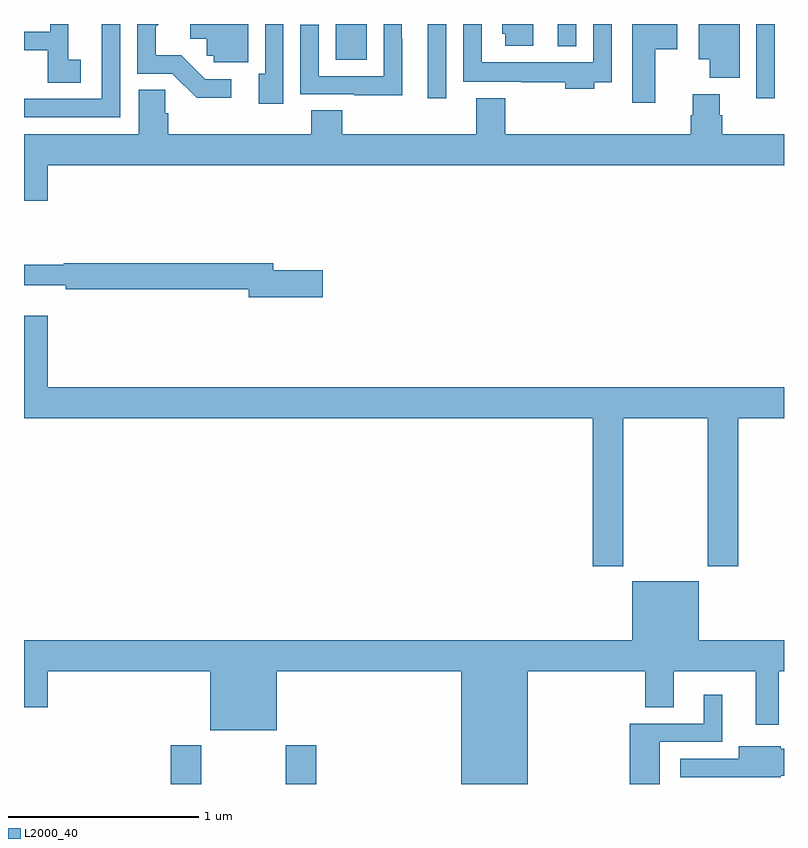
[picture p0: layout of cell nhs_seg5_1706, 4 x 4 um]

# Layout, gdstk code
import gdstk
lib = gdstk.Library(unit=1e-6, precision=1e-09)
def R(c, l, rs):  # rectangles x0, y0, x1, y1
    for r in rs: c.add(gdstk.rectangle(r[:2], r[2:], *l))
def P(c, l, *ps):  # polygons
    for p in ps: c.add(gdstk.Polygon(p, *l))
L2000_40 = (2000, 40)

nhs_seg5_1706 = lib.new_cell('nhs_seg5_1706')
R(nhs_seg5_1706, L2000_40, [(213.773,890.799,213.933,891.004), (214.378,890.799,214.538,891.004), (215.126,894.408,215.223,894.799), (216.855,894.408,216.952,894.799), (214.64,894.61,214.804,894.799), (215.81,894.683,215.907,894.799)])
P(nhs_seg5_1706, L2000_40, [(213.507,894.799),(213.41,894.799),(213.41,894.405),(213,894.405),(213,894.309),(213.507,894.309)],
  [(216.001,894.492),(216.093,894.492),(216.093,894.799),(215.997,894.799),(215.997,894.598),(215.409,894.598),(215.409,894.799),(215.313,894.799),(215.313,894.494),(215.617,894.494),(215.617,894.492),(215.849,894.492),(215.849,894.458),(216.001,894.458)],
  [(214.18,894.799),(213.876,894.799),(213.876,894.722),(213.963,894.722),(213.963,894.633),(213.999,894.633),(213.999,894.597),(214.18,894.597)],
  [(214.99,894.722),(214.989,894.722),(214.989,894.799),(214.893,894.799),(214.893,894.525),(214.551,894.525),(214.551,894.796),(214.455,894.796),(214.455,894.429),(214.739,894.429),(214.739,894.425),(214.99,894.425)],
  [(213.298,894.612),(213.234,894.612),(213.234,894.799),(213.138,894.799),(213.138,894.759),(213,894.759),(213,894.661),(213.126,894.661),(213.126,894.49),(213.298,894.49)],
  [(214.365,894.799),(214.269,894.799),(214.269,894.538),(214.235,894.538),(214.235,894.378),(214.365,894.378)],
  [(216.322,894.667),(216.439,894.667),(216.439,894.799),(216.2,894.799),(216.2,894.384),(216.322,894.384)],
  [(216.766,894.799),(216.551,894.799),(216.551,894.614),(216.608,894.614),(216.608,894.515),(216.766,894.515)],
  [(215.68,894.799),(215.516,894.799),(215.516,894.747),(215.534,894.747),(215.534,894.684),(215.68,894.684)],
  [(214.09,894.507),(213.954,894.507),(213.827,894.634),(213.694,894.634),(213.694,894.784),(213.709,894.799),(213.597,894.799),(213.597,894.537),(213.78,894.537),(213.908,894.41),(214.09,894.41)],
  [(213.124,894.056),(217,894.056),(217,894.22),(216.674,894.22),(216.674,894.318),(216.661,894.318),(216.661,894.43),(216.521,894.43),(216.521,894.318),(216.509,894.318),(216.509,894.22),(215.534,894.22),(215.534,894.409),(215.381,894.409),(215.381,894.22),(214.676,894.22),(214.676,894.344),(214.511,894.344),(214.511,894.22),(213.758,894.22),(213.758,894.33),(213.743,894.33),(213.743,894.452),(213.605,894.452),(213.605,894.22),(213,894.22),(213,893.868),(213.124,893.868)],
  [(214.573,893.504),(214.312,893.504),(214.312,893.54),(213.208,893.54),(213.208,893.533),(213,893.533),(213,893.423),(213.22,893.423),(213.22,893.404),(214.184,893.404),(214.184,893.362),(214.573,893.362)],
  [(216.153,892.724),(216.598,892.724),(216.598,891.945),(216.758,891.945),(216.758,892.724),(217,892.724),(217,892.888),(213.124,892.888),(213.124,893.263),(213,893.263),(213,892.724),(215.993,892.724),(215.993,891.945),(216.153,891.945)],
  [(215.65,891.392),(216.269,891.392),(216.269,891.202),(216.421,891.202),(216.421,891.392),(216.851,891.392),(216.851,891.111),(216.973,891.111),(216.973,891.392),(217,891.392),(217,891.556),(216.55,891.556),(216.55,891.865),(216.2,891.865),(216.2,891.556),(213,891.556),(213,891.204),(213.124,891.204),(213.124,891.392),(213.98,891.392),(213.98,891.083),(214.33,891.083),(214.33,891.392),(215.3,891.392),(215.3,890.799),(215.65,890.799)],
  [(216.346,891.021),(216.676,891.021),(216.676,891.268),(216.578,891.268),(216.578,891.117),(216.188,891.117),(216.188,890.799),(216.346,890.799)],
  [(216.984,890.843),(217,890.843),(217,890.985),(216.984,890.985),(216.984,890.998),(216.761,890.998),(216.761,890.931),(216.453,890.931),(216.453,890.835),(216.765,890.835),(216.765,890.834),(216.984,890.834)])

lib.write_gds('nhs_seg5_1706.gds')
